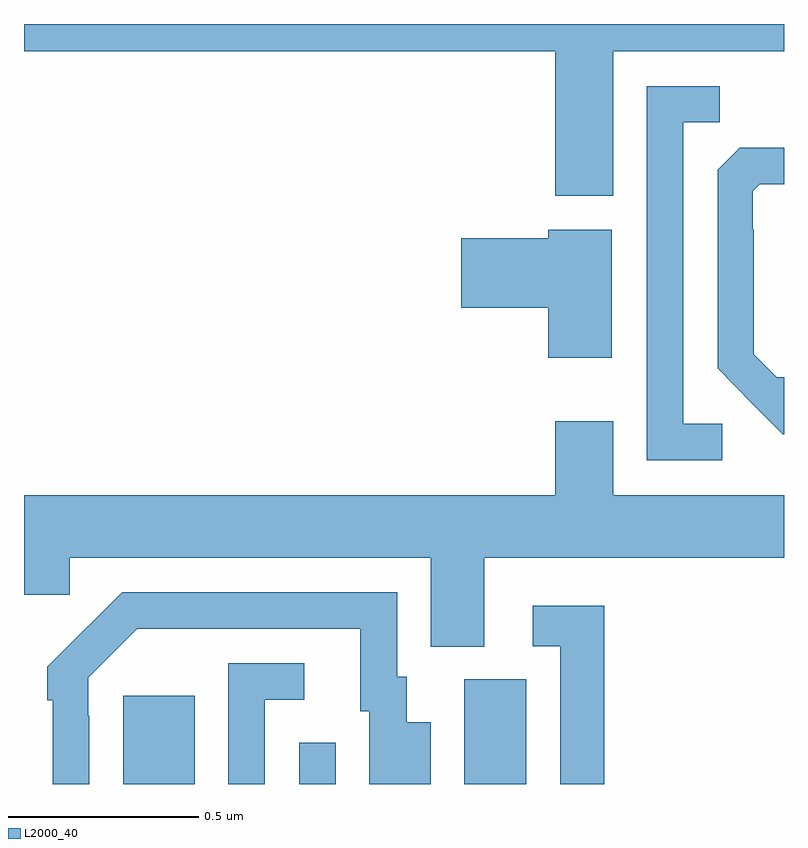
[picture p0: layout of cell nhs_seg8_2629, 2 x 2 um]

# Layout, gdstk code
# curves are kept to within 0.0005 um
import gdstk
lib = gdstk.Library(unit=1e-6, precision=1e-09)
def R(c, l, rs):  # rectangles x0, y0, x1, y1
    for r in rs: c.add(gdstk.rectangle(r[:2], r[2:], *l))
def P(c, l, *ps):  # polygons
    for p in ps: c.add(gdstk.Polygon(p, *l))
L2000_40 = (2000, 40)

nhs_seg8_2629 = lib.new_cell('nhs_seg8_2629')
R(nhs_seg8_2629, L2000_40, [(146.261,1119.9,146.449,1120.132), (146.724,1119.9,146.82,1120.009), (147.158,1119.9,147.322,1120.176)])
P(nhs_seg8_2629, L2000_40, [(147.55,1121.828),(148,1121.828),(148,1121.9),(146,1121.9),(146,1121.828),(147.398,1121.828),(147.398,1121.448),(147.55,1121.448)],
  [(147.838,1120.848),(147.735,1120.848),(147.735,1121.641),(147.831,1121.641),(147.831,1121.736),(147.639,1121.736),(147.639,1120.752),(147.838,1120.752)],
  [(148,1120.971),(147.981,1120.971),(147.921,1121.031),(147.921,1121.36),(147.918,1121.36),(147.918,1121.46),(147.936,1121.478),(148,1121.478),(148,1121.575),(147.884,1121.575),(147.825,1121.516),(147.825,1120.994),(147.997,1120.82),(148,1120.82)],
  [(147.547,1121.359),(147.38,1121.359),(147.38,1121.336),(147.15,1121.336),(147.15,1121.153),(147.38,1121.153),(147.38,1121.022),(147.547,1121.022)],
  [(147.211,1120.496),(148,1120.496),(148,1120.66),(147.55,1120.66),(147.55,1120.855),(147.398,1120.855),(147.398,1120.66),(146,1120.66),(146,1120.398),(146.121,1120.398),(146.121,1120.496),(147.071,1120.496),(147.071,1120.261),(147.211,1120.261)],
  [(146.172,1120.079),(146.169,1120.079),(146.169,1120.179),(146.298,1120.308),(146.885,1120.308),(146.885,1120.092),(146.909,1120.092),(146.909,1119.9),(147.07,1119.9),(147.07,1120.063),(147.007,1120.063),(147.007,1120.182),(146.982,1120.182),(146.982,1120.404),(146.258,1120.404),(146.167,1120.313),(146.166,1120.314),(146.061,1120.209),(146.061,1120.121),(146.076,1120.121),(146.076,1119.9),(146.172,1119.9)],
  [(147.527,1120.369),(147.339,1120.369),(147.339,1120.263),(147.411,1120.263),(147.411,1119.9),(147.527,1119.9)],
  [(146.634,1120.122),(146.737,1120.122),(146.737,1120.218),(146.538,1120.218),(146.538,1119.9),(146.634,1119.9)])

lib.write_gds('nhs_seg8_2629.gds')
